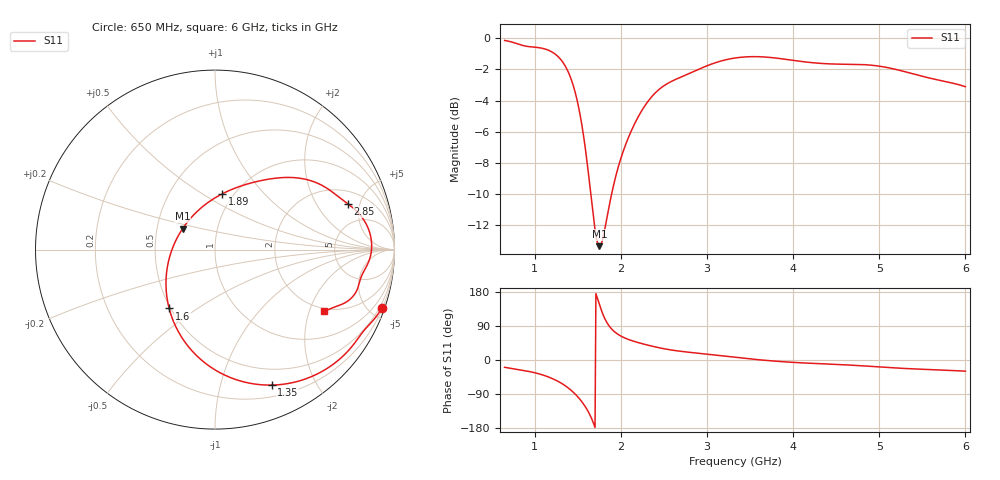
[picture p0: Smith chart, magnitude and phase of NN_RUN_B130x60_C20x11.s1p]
! IGNION VIRTUAL ANTENNA LIBRARY
! NN_RUN_B130x60_C20x11
! Virtual Antenna™ RUN mXTEND™: NN02-224 12.0 mm x 3.0 mm x 2.4 mm
! https://ignion.io/product/run-mxtend/
! Board: 130 mm x 60 mm
! Clearance Area: 20 mm x 11 mm
! Feeding line: L-shape; 11mm x 2mm and 5mm x 2mm
! Applications: Smartphone, Fleet management, IoT
! Frequency range 0.65GHz to 6GHz, step 10MHz
! Number of ports 1
! This product and its use is protected by at least one or more of the following patents and patent
! applications US 8,203,492 B2; US 8,237,615 B2; PCT/EP2013/064692; WO 2014/012842 A1; US 2019/190122 A1;
! US 62/072,671; and other domestic and international patents pending. Additional information about
! patents related to this product is available at https://ignion.io/files/Patent-list-NN.pdf, all
! rights reserved. Copyright, Ignion 2021.
! Need more help? Your platform is much different than these examples in the manual? Use our
! Fast Track service (https://ignion.io/fast-track/), for free, and get a personalized antenna design in
! just 24 hours.
! Touchstone port 1 = "Series Port"
! IE3D S-Parameters Output Version 2.0
# GHZ S MA R 50
! Nport = 1
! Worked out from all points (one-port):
!   536 points, 650 MHz to 6 GHz, reference 50 ohm
!   lowest |S11| = -13.4 dB at 1.75 GHz (marker M1), VSWR 1.55, Z = 33.9 + j8.35 ohm
!   |S11| at or under -10 dB: 1.65 GHz to 1.893 GHz (242.4 MHz wide, 13.7 % of centre)
!   S11 on the Smith chart (normalised r, x): 650 MHz: 0.28, -5.89; 1.35 GHz: 0.32, -1.45; 1.6 GHz: 0.49, -0.39; 1.89 GHz: 0.89, +0.61; 2.85 GHz: 2.92, +3.85; 6 GHz: 1.89, -2.54
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0.65  0.9843 -19.2
0.93  0.9405 -30.2
1.08  0.9298 -38.6
1.21  0.9004 -49.6
1.32  0.8423 -62.9
1.35  0.8181 -67.3
1.41  0.7551 -77.6
1.47  0.6696 -90.1
1.54  0.5409 -108.1
1.6  0.4158 -127.9
1.67  0.2827 -159.9
1.71  0.2329 175.1
1.75  0.2149 146.9
1.82  0.2491 106.1
1.89  0.3137 82.5
1.99  0.4034 64.4
2.16  0.5318 48.7
2.35  0.6453 37.1
2.5  0.7041 29.7
2.66  0.743 23.9
2.85  0.7832 19.0
3.33  0.8649 7.0
3.62  0.8724 0.3
4  0.8494 -6.3
4.67  0.8254 -13.6
4.97  0.816 -17.8
5.34  0.7756 -22.9
6  0.6992 -29.4
